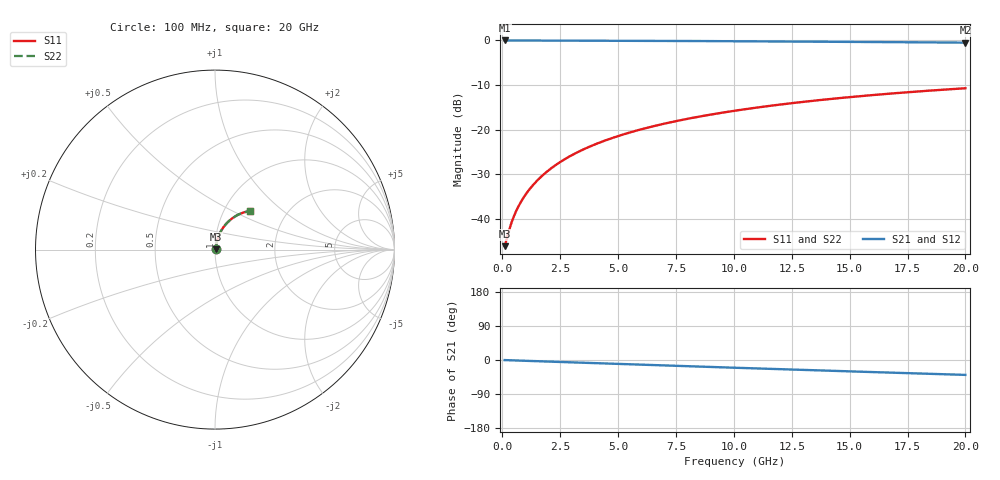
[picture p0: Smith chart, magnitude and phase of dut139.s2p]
! Touchstone file exported from HFSS 2026.1.0
!  File:  C:/ffzhzh/LocalFiles/Ansys_Project_Files/temp_train_BSMRDL_139_1782986345_45328.aedt
!  Generated:  06:00:26 PM Jul  2, 2026
!  Design:  BSMRDL
!  Project:  temp_train_BSMRDL_139_1782986345_45328
! Variables:
!  h_bsmrdl = 3.06um
!  h_ox = 20um
!  h_rdl = 5um
!  h_sub = 80um
!  h_tmrdl = 5um
!  h_tsv = 80um
!  h_via = 3um
!  l_bsmrdl = 626.85um
!  l_sub = 1026.85um
!  l_tmrdl = 200um
!  m_sub = 200um
!  pitch = 29.62um
!  r_tsv = 6um
!  s_tmrdl = 10um
!  w_bsmrdl = 16.45um
!  w_sub = 500um
!  w_tmrdl = 12um
!  x_tsv_center1 = 206um
!  x_tsv_center2 = 849.3um
!  x_tsv_center3 = 1061.3um
!  x_tsv_center4 = 1704.6um
!  x_tsv_center5 = 1916.6um
!  x_tsv_center6 = 2559.9um
# GHz S MA R 50.000000
! Terminal data exported
! Port[1] = BSM_RDL1_1_T1
! Port[2] = BSM_RDL1_1_T2
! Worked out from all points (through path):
!   200 points, 100 MHz to 20 GHz, reference 50 ohm
!   highest |S21| = -0.04 dB at 100 MHz (marker M1); lowest = -0.5 dB at 20 GHz (marker M2)
!   group delay of S21, straight-line fit = 5.46 ps
!   lowest |S11| = -46.1 dB at 100 MHz (marker M3), VSWR 1.01, Z = 50.5 + j0.2 ohm
!   |S11| at or under -10 dB: start of sweep to end of sweep
!   |S22| runs from -46.1 to -10.7 dB; largest |S21 - S12| = 2.7e-15
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0.1  0.00498 23.5  0.9954 -0.2  0.9954 -0.2  0.00498 23.5
! Gamma 0 0 0 0
! Port Impedance 50 0 50 0
0.3  0.007605 49.3  0.9951 -0.7  0.9951 -0.7  0.007605 49.3
0.4  0.009161 55.4  0.9949 -0.9  0.9949 -0.9  0.009161 55.4
0.5  0.01074 59.6  0.9947 -1.1  0.9947 -1.1  0.01074 59.6
0.6  0.01232 62.7  0.9945 -1.3  0.9945 -1.3  0.01232 62.7
0.7  0.01391 65.1  0.9944 -1.5  0.9944 -1.5  0.01391 65.1
0.9  0.0171 68.5  0.9942 -1.9  0.9942 -1.9  0.01711 68.5
1.2  0.02196 71.8  0.9939 -2.5  0.9939 -2.5  0.02196 71.8
1.4  0.02523 73.3  0.9937 -2.9  0.9937 -2.9  0.02523 73.3
1.7  0.03017 74.7  0.9934 -3.6  0.9934 -3.6  0.03017 74.7
2.2  0.03848 75.9  0.9929 -4.6  0.9929 -4.6  0.03848 75.9
2.8  0.04849 76.4  0.9923 -5.8  0.9923 -5.8  0.04849 76.4
3.5  0.06014 76.1  0.9913 -7.3  0.9913 -7.3  0.06014 76.1
4.2  0.07171 75.5  0.9902 -8.7  0.9902 -8.7  0.07172 75.5
5  0.08482 74.5  0.9887 -10.3  0.9887 -10.3  0.08482 74.4
5.9  0.09936 73.1  0.9868 -12.2  0.9868 -12.2  0.09937 73.1
6.8  0.1137 71.6  0.9847 -14.0  0.9847 -14.0  0.1137 71.6
8.3  0.1369 68.9  0.9808 -17.0  0.9808 -17.0  0.137 68.9
10.1  0.1639 65.6  0.9755 -20.5  0.9755 -20.5  0.1639 65.6
13.4  0.2102 59.6  0.9649 -26.9  0.9649 -26.9  0.2102 59.6
16.7  0.2526 53.7  0.9534 -33.2  0.9534 -33.2  0.2527 53.6
20  0.2909 47.8  0.9416 -39.3  0.9416 -39.3  0.2909 47.7
